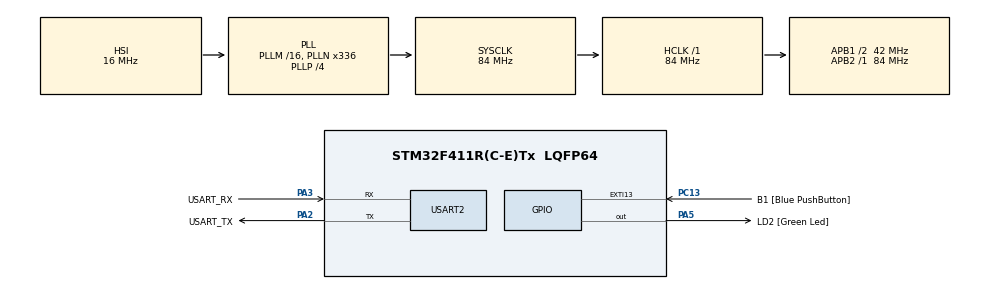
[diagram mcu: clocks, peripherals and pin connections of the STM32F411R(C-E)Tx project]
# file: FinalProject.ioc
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Mcu.Family=STM32F4
Mcu.Name=STM32F411R(C-E)Tx
Mcu.Package=LQFP64
NVIC.PriorityGroup=NVIC_PRIORITYGROUP_2
NVIC.USART2_IRQn=true\:2\:0\:true\:false\:true\:true\:true
PA13.GPIO_Label=TMS
PA13.Mode=Serial_Wire
PA13.Signal=SYS_JTMS-SWDIO
PA14.GPIO_Label=TCK
PA14.Mode=Serial_Wire
PA14.Signal=SYS_JTCK-SWCLK
PA2.GPIO_Label=USART_TX
PA2.Mode=Asynchronous
PA2.Signal=USART2_TX
PA3.GPIO_Label=USART_RX
PA3.Mode=Asynchronous
PA3.Signal=USART2_RX
PA5.GPIO_Label=LD2 [Green Led]
PA5.Signal=GPIO_Output
PB3.GPIO_Label=SWO
PB3.Signal=SYS_JTDO-SWO
PC13-ANTI_TAMP.GPIO_Label=B1 [Blue PushButton]
PC13-ANTI_TAMP.GPIO_ModeDefaultEXTI=GPIO_MODE_IT_FALLING
PC13-ANTI_TAMP.Signal=GPXTI13
PC14-OSC32_IN.Mode=LSE-External-Oscillator
PC14-OSC32_IN.Signal=RCC_OSC32_IN
PC15-OSC32_OUT.Mode=LSE-External-Oscillator
PC15-OSC32_OUT.Signal=RCC_OSC32_OUT
PH0\ -\ OSC_IN.Mode=HSE-External-Clock-Source
PH0\ -\ OSC_IN.Signal=RCC_OSC_IN
PH1\ -\ OSC_OUT.Mode=HSE-External-Clock-Source
PH1\ -\ OSC_OUT.Signal=RCC_OSC_OUT
ProjectManager.HeapSize=0x200
ProjectManager.StackSize=0x400
ProjectManager.TargetToolchain=STM32CubeIDE
RCC.48MHZClocksFreq_Value=84000000
RCC.AHBFreq_Value=84000000
RCC.APB1CLKDivider=RCC_HCLK_DIV2
RCC.APB1Freq_Value=42000000
RCC.APB1TimFreq_Value=84000000
RCC.APB2Freq_Value=84000000
RCC.APB2TimFreq_Value=84000000
RCC.CortexFreq_Value=84000000
RCC.FLatency-AdvancedSettings=FLASH_LATENCY_2
RCC.HCLKFreq_Value=84000000
RCC.HSE_VALUE=8000000
RCC.HSI_VALUE=16000000
RCC.PLLN=336
RCC.PLLP=RCC_PLLP_DIV4
RCC.SYSCLKFreq_VALUE=84000000
RCC.SYSCLKSource=RCC_SYSCLKSOURCE_PLLCLK
RCC.VCOOutputFreq_Value=336000000
TIM2.AutoReloadPreload=TIM_AUTORELOAD_PRELOAD_ENABLE
TIM2.Channel-PWM\ Generation1\ No\ Output=TIM_CHANNEL_1
TIM2.Period=50
TIM2.Prescaler=8400
USART2.VirtualMode=VM_ASYNC
VP_TIM2_VS_ClockSourceINT.Mode=Internal
VP_TIM2_VS_no_output1.Mode=PWM Generation1 No Output
board=NUCLEO-F411RE

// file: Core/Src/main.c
/* USER CODE BEGIN Header */
/**
  ******************************************************************************
  * @file           : main.c
  * @brief          : Main program body
  ******************************************************************************
  * @attention
  *
  * <h2><center>&copy; Copyright (c) 2020 STMicroelectronics.
  * All rights reserved.</center></h2>
  *
  * This software component is licensed by ST under BSD 3-Clause license,
  * the "License"; You may not use this file except in compliance with the
  * License. You may obtain a copy of the License at:
  *                        opensource.org/licenses/BSD-3-Clause
  *
  ******************************************************************************
  */
/* USER CODE END Header */

#include "main.h"

/* USER CODE BEGIN Includes */
#include <stdio.h>
#include <time.h>
#include <stdlib.h>
#include <ctype.h>
/* USER CODE END Includes */

TIM_HandleTypeDef htim2;

UART_HandleTypeDef huart2;

/* USER CODE BEGIN PV */
char alphabet[] = "abcdefghijklmnopqrstuvwxyz";
char StartString[] = "Welcome to the HangMan game!! Choose the option that you want :\r\n [1] Start \r\n [2] How to play?? \r\n Choose one (type 1 or 2): ";
char HardVocabularies[50][25] = {
		"abysmal", "antithetical", "apocryphal", "begrudge", "behoove", "belligerent", "capricious", "chivalrous", "commensurate", "conundrum",
		"denigrate", "dilapidated", "efficacious", "evenhanded", "exegesis", "forlorn", "frugal", "garrulous", "hackneyed", "idiosyncrasy",
		"imbroglio", "incorrigible", "inscrutable", "intransigent", "juggernaut", "largesse", "lascivious", "malapropism", "malfeasance", "malodorous",
		"misogynist", "obsequious", "overweening", "parsimonious", "pejorative", "piquant", "pollyannaish", "prescience", "presumptuous", "prevaricate",
		"profligate", "querulous", "restive", "saturnine", "soporific", "supercilious", "sycophant", "tantamount", "veracious", "vicissitude"
};

char MediumVocabularies[50][25] = {

		"anomaly", "arduous", "blatant", "strenuous", "bombard", "concensus", "confront", "disparate", "disperse", "dwindle",
		"emphasize", "exacerbate", "exhaustive", "foremost", "forthcoming", "grueling", "impetus", "implausible", "indignant", "inexorable",
		"infinitesimal", "innocuous", "intersperse", "intervene", "jeopardy", "juxtapose", "notwithstanding", "nuance", "overlook", "overshadow",
		"overwhelm", "predominant", "preposterous", "prevalent", "profound", "propagate", "propulsion", "rebound", "remnant", "ruthless",
		"salvage", "subsequent", "substitute", "subsume", "superfluous", "transitory", "trivial", "undermine", "upheaval", "vicarious"
};

char EasyVocularies[50][25] = {

		"absolve", "anxious", "apparent", "aspire", "bashful", "blossom", "bold", "catastrophe", "complain", "contrast",
		"crave", "criticize", "crowded", "dangerous", "deadly", "debate", "degenerate", "demote", "deport", "distinct",
		"disturb", "endless", "enormous", "escalate", "exile", "exterminate", "fearless", "forever", "fruitful", "immense",
		"intelligent", "interesting", "large", "minute", "obsessed", "pacific", "partiality", "perceive", "poisonous", "pressing",
		"pursue", "reckless", "relegate", "renowned", "request", "shade", "stalk", "tiresome", "transparent", "typical"
};

/* USER CODE END PV */

void SystemClock_Config(void);
static void MX_GPIO_Init(void);
static void MX_TIM2_Init(void);
static void MX_USART2_UART_Init(void);

/* USER CODE BEGIN 0 */
char pData[1]; //hold the user's input
char word[25]; //hold the random word.
char usedCharacter[] = "                          "; //used characters
int start = 0; //start by pushing the button
int state = 0; //state of the program
int mode = 0; //mode of the game (easy,medium,hard)
int Timeout = 1000000;
int size = 0; //size of the random word
int try = 8; //max trial
void resetValues(){
	for (int i = 0;i < 25; ++i){
		word[i] = ' ';
	}
	for (int i = 0; i < 26; ++i){
		usedCharacter[i] = ' ';
	}
	mode = 0;
	size = 0;
	try = 8;
	start = 0;
}
/* USER CODE END 0 */

int main(void)
{
  /* USER CODE BEGIN 1 */
	//HAL_UART_Transmit(&huart2, StartString, sizeof(StartString), 1000000);
  /* USER CODE END 1 */

  /* MCU Configuration--------------------------------------------------------*/

  /* Reset of all peripherals, Initializes the Flash interface and the Systick. */
  HAL_Init();

  /* Configure the system clock */
  SystemClock_Config();

  /* Initialize all configured peripherals */
  MX_GPIO_Init();
  MX_TIM2_Init();
  MX_USART2_UART_Init();
  /* USER CODE BEGIN 2 */
  //HAL_UART_Transmit(&huart2, StartString, sizeof(StartString), 1000000);
  /* USER CODE END 2 */

  /* Infinite loop */
  /* USER CODE BEGIN WHILE */

  while (1)
  {
	HAL_TIM_PWM_Start(&htim2, TIM_CHANNEL_1);
	if (!HAL_GPIO_ReadPin(GPIOC, GPIO_PIN_13)){
		while(!HAL_GPIO_ReadPin(GPIOC, GPIO_PIN_13));
		buttonPushStart();
	}
	if (state == 1){
		if (HAL_UART_Receive(&huart2, pData, 1, Timeout) == HAL_OK){
			if (pData[0] == '1'){
				startGame();
			}
			else if (pData[0] == '2'){
				howToPlay();
			}
			else{
				error1();
			}
		}
	}
	if (state == 2){
		if (HAL_UART_Receive(&huart2, pData, 1, Timeout) == HAL_OK){
			if (pData[0] == '1'){
				startEasy();
			}
			else if (pData[0] == '2'){
				startMedium();
			}
			else if (pData[0] == '3'){
				startHard();
			}
			else{
				error2();
			}
		}
	}
	if (state == 3){
		startNow();
	}
	if (state == 4){
		firstTurn();
	}
	if (state == 5){
		continueTurn();
	}
    /* USER CODE END WHILE */
	if (state == 6){
		tryAgain();
	}
  }
}

void SystemClock_Config(void)
{
  RCC_OscInitTypeDef RCC_OscInitStruct = {0};
  RCC_ClkInitTypeDef RCC_ClkInitStruct = {0};

  /** Configure the main internal regulator output voltage
  */
  __HAL_RCC_PWR_CLK_ENABLE();
  __HAL_PWR_VOLTAGESCALING_CONFIG(PWR_REGULATOR_VOLTAGE_SCALE1);
  /** Initializes the CPU, AHB and APB busses clocks
  */
  RCC_OscInitStruct.OscillatorType = RCC_OSCILLATORTYPE_HSI;
  RCC_OscInitStruct.HSIState = RCC_HSI_ON;
  RCC_OscInitStruct.HSICalibrationValue = RCC_HSICALIBRATION_DEFAULT;
  RCC_OscInitStruct.PLL.PLLState = RCC_PLL_ON;
  RCC_OscInitStruct.PLL.PLLSource = RCC_PLLSOURCE_HSI;
  RCC_OscInitStruct.PLL.PLLM = 16;
  RCC_OscInitStruct.PLL.PLLN = 336;
  RCC_OscInitStruct.PLL.PLLP = RCC_PLLP_DIV4;
  RCC_OscInitStruct.PLL.PLLQ = 4;
  if (HAL_RCC_OscConfig(&RCC_OscInitStruct) != HAL_OK)
  {
    Error_Handler();
  }
  /** Initializes the CPU, AHB and APB busses clocks
  */
  RCC_ClkInitStruct.ClockType = RCC_CLOCKTYPE_HCLK|RCC_CLOCKTYPE_SYSCLK
                              |RCC_CLOCKTYPE_PCLK1|RCC_CLOCKTYPE_PCLK2;
  RCC_ClkInitStruct.SYSCLKSource = RCC_SYSCLKSOURCE_PLLCLK;
  RCC_ClkInitStruct.AHBCLKDivider = RCC_SYSCLK_DIV1;
  RCC_ClkInitStruct.APB1CLKDivider = RCC_HCLK_DIV2;
  RCC_ClkInitStruct.APB2CLKDivider = RCC_HCLK_DIV1;

  if (HAL_RCC_ClockConfig(&RCC_ClkInitStruct, FLASH_LATENCY_2) != HAL_OK)
  {
    Error_Handler();
  }
}

static void MX_TIM2_Init(void)
{

  TIM_ClockConfigTypeDef sClockSourceConfig = {0};
  TIM_MasterConfigTypeDef sMasterConfig = {0};
  TIM_OC_InitTypeDef sConfigOC = {0};

  htim2.Instance = TIM2;
  htim2.Init.Prescaler = 8400;
  htim2.Init.CounterMode = TIM_COUNTERMODE_UP;
  htim2.Init.Period = 50;
  htim2.Init.ClockDivision = TIM_CLOCKDIVISION_DIV1;
  htim2.Init.AutoReloadPreload = TIM_AUTORELOAD_PRELOAD_ENABLE;
  if (HAL_TIM_Base_Init(&htim2) != HAL_OK)
  {
    Error_Handler();
  }
  sClockSourceConfig.ClockSource = TIM_CLOCKSOURCE_INTERNAL;
  if (HAL_TIM_ConfigClockSource(&htim2, &sClockSourceConfig) != HAL_OK)
  {
    Error_Handler();
  }
  if (HAL_TIM_PWM_Init(&htim2) != HAL_OK)
  {
    Error_Handler();
  }
  sMasterConfig.MasterOutputTrigger = TIM_TRGO_RESET;
  sMasterConfig.MasterSlaveMode = TIM_MASTERSLAVEMODE_DISABLE;
  if (HAL_TIMEx_MasterConfigSynchronization(&htim2, &sMasterConfig) != HAL_OK)
  {
    Error_Handler();
  }
  sConfigOC.OCMode = TIM_OCMODE_PWM1;
  sConfigOC.Pulse = 0;
  sConfigOC.OCPolarity = TIM_OCPOLARITY_HIGH;
  sConfigOC.OCFastMode = TIM_OCFAST_DISABLE;
  if (HAL_TIM_PWM_ConfigChannel(&htim2, &sConfigOC, TIM_CHANNEL_1) != HAL_OK)
  {
    Error_Handler();
  }

}

static void MX_USART2_UART_Init(void)
{

  huart2.Instance = USART2;
  huart2.Init.BaudRate = 115200;
  huart2.Init.WordLength = UART_WORDLENGTH_8B;
  huart2.Init.StopBits = UART_STOPBITS_1;
  huart2.Init.Parity = UART_PARITY_NONE;
  huart2.Init.Mode = UART_MODE_TX_RX;
  huart2.Init.HwFlowCtl = UART_HWCONTROL_NONE;
  huart2.Init.OverSampling = UART_OVERSAMPLING_16;
  if (HAL_UART_Init(&huart2) != HAL_OK)
  {
    Error_Handler();
  }

}

static void MX_GPIO_Init(void)
{
  GPIO_InitTypeDef GPIO_InitStruct = {0};

  /* GPIO Ports Clock Enable */
  __HAL_RCC_GPIOC_CLK_ENABLE();
  __HAL_RCC_GPIOH_CLK_ENABLE();
  __HAL_RCC_GPIOA_CLK_ENABLE();
  __HAL_RCC_GPIOB_CLK_ENABLE();

  /*Configure GPIO pin Output Level */
  HAL_GPIO_WritePin(LD2_GPIO_Port, LD2_Pin, GPIO_PIN_RESET);

  /*Configure GPIO pin : B1_Pin */
  GPIO_InitStruct.Pin = B1_Pin;
  GPIO_InitStruct.Mode = GPIO_MODE_IT_FALLING;
  GPIO_InitStruct.Pull = GPIO_NOPULL;
  HAL_GPIO_Init(B1_GPIO_Port, &GPIO_InitStruct);

  /*Configure GPIO pin : LD2_Pin */
  GPIO_InitStruct.Pin = LD2_Pin;
  GPIO_InitStruct.Mode = GPIO_MODE_OUTPUT_PP;
  GPIO_InitStruct.Pull = GPIO_NOPULL;
  GPIO_InitStruct.Speed = GPIO_SPEED_FREQ_LOW;
  HAL_GPIO_Init(LD2_GPIO_Port, &GPIO_InitStruct);

}

/* USER CODE BEGIN 4 */
void setVocabularySets(char set[50][25]){
	state = 3;
	int k = TIM2->CNT %50;
	for (int i = 0; i < 25; ++i){
		if (set[k][i] != NULL){
			size++;
		}
	}
	//size = sizeof(EasyVocularies[k]);
	for (int i = 0; i < size; ++i){
		word[i] = set[k][i];
	}
	for (int i = size; i < 25; ++i){
		word[i] = NULL;
	}
	//HAL_UART_Transmit(&huart2, word, sizeof(word), Timeout);
}

void startGame(){
	state = 2;
	char Start[] = "\r\n \r\n Now starting the game! Are you ready? How strong are your vocabularies? Choose one Level: \r\n [1] Easy \r\n [2] Medium \r\n [3] Hard \r\n (type 1 or 2 or 3): ";
	HAL_UART_Transmit(&huart2, Start, sizeof(Start), Timeout);
	//HAL_UART_Transmit(&huart2, pData, 1, 1000000);
}

void howToPlay(){
	state = 1;
	char How[] = "\r\n \r\n This is how you are going to play this game: \r\n [1] You guess a character that you think is in the word \r\n [2] You only have limited guess (8) so choose well \r\n [3] of course if you guess all correct character before the quota runs out, you win!";
	HAL_UART_Transmit(&huart2, How, sizeof(How), Timeout);
	//HAL_UART_Transmit(&huart2, pData, 1, 1000000);
	HAL_Delay(2000);
	char anoStart[] = "\r\n \r\n Already familiar with the rule? \r\n Now let's Choose the option that you want :\r\n [1] Start \r\n [2] How to play?? \r\n Choose one (type 1 or 2):";
	HAL_UART_Transmit(&huart2, anoStart , sizeof(anoStart), Timeout);
}

void error1(){
	state = 1;
	char Error[] = "\r\n \r\n Such a strange person you are, type only 1 or 2 !!!";
	HAL_UART_Transmit(&huart2, Error, sizeof(Error), Timeout);
	char TryAgain[] = "\r\n Now Try again, remember, type only 1 or 2 !!!!";
	HAL_UART_Transmit(&huart2, TryAgain, sizeof(TryAgain), Timeout);
}

void buttonPushStart(){
	if (start == 0){
		start = 1;
		state = 1;
		HAL_UART_Transmit(&huart2, StartString , sizeof(StartString), Timeout);
	}
}

void startEasy(){
	char easy[] = " \r\n \r\n Always start small right? Let's see if you can defeat the easiest level! \r\n";
	HAL_UART_Transmit(&huart2, easy , sizeof(easy), Timeout);
	HAL_Delay(1800);
	setVocabularySets(EasyVocularies);
	mode = 1;
}

void startMedium(){
	char middle[] = "\r\n \r\n Like to choose things in the middle ha? These medium-level vocabularies are not so easy as you would think! \r\n";
	HAL_UART_Transmit(&huart2, middle , sizeof(middle), Timeout);
	HAL_Delay(1800);
	setVocabularySets(MediumVocabularies);
	mode = 2;
}

void startHard(){
	char Hard[] = "\r\n \r\n Such a brave lad you are!!! This is the toughest of all the levels, don't expect it to be your level!! \r\n";
	HAL_UART_Transmit(&huart2, Hard , sizeof(Hard), Timeout);
	HAL_Delay(1800);
	setVocabularySets(HardVocabularies);
	mode = 3;
}
char myword[25];
void error2(){
	state = 2;
	char Error[] = "\r\n \r\n Such a strange person you are, type only 1, 2, or 3 !!!";
	HAL_UART_Transmit(&huart2, Error, sizeof(Error), Timeout);
	char TryAgain[] = "\r\n Now Try again, remember, type only 1, 2, or 3 !!!!";
	HAL_UART_Transmit(&huart2, TryAgain, sizeof(TryAgain), Timeout);
}
void startNow(){
	char StartNow[] = "\r\n \r\n Here are the clue and tips to your words \r\n [1] Your word has ";
	char Continue[2];
	state = 4;
	char EndNow[] = " characters... \r\n [2] try typing vowels first (a,e,i,o,u) \r\n\r\n Now let's get started, shall we? \r\n \r\n ";
	HAL_UART_Transmit(&huart2, StartNow, sizeof(StartNow), Timeout);
	sprintf(Continue,"%d", size);
	HAL_UART_Transmit(&huart2, Continue, sizeof(Continue), Timeout);
	HAL_UART_Transmit(&huart2, EndNow, sizeof(EndNow), Timeout);
	HAL_Delay(1800);
}

void firstTurn(){
	state = 5;
	char underscore[size*2];
	char stretchedword[size*2];
	for (int i = 0; i < size*2; ++i){
		if (i % 2 == 0){
			underscore[i] = '_';
			stretchedword[i] = word[i/2];
			myword[i] = ' ';
		}
		else{
			underscore[i] = ' ';
			stretchedword[i] = ' ';
			myword[i] = ' ';
		}
	}

	//HAL_UART_Transmit(&huart2, stretchedword, size*2, Timeout);
	HAL_UART_Transmit(&huart2, myword, size*2, Timeout);
	HAL_UART_Transmit(&huart2, "\r\n", 4, Timeout);
	HAL_UART_Transmit(&huart2, " ", 1, Timeout);
	HAL_UART_Transmit(&huart2, underscore, size*2, Timeout);
	char after[] = "\r\n \r\n Now choose (or guess) a character that you think is in this word... : ";
	char format[] = "(%d characters) used characters : ";
	char HereIsYourWords[sizeof(format)-1];
	sprintf(HereIsYourWords,format, size);
	HAL_UART_Transmit(&huart2, HereIsYourWords, sizeof(HereIsYourWords), Timeout);
	HAL_UART_Transmit(&huart2, usedCharacter, sizeof(usedCharacter), Timeout);
	char Try[2];
	sprintf(Try,"%d",try);
	HAL_UART_Transmit(&huart2, "\r\n\r\n", 8, Timeout);
	HAL_UART_Transmit(&huart2, " Try left: ", 11, Timeout);
	HAL_UART_Transmit(&huart2, Try, sizeof(Try), Timeout);
	HAL_Delay(500);
	HAL_UART_Transmit(&huart2, after, sizeof(after), Timeout);
}

void nextTurn(){
	char underscore[size*2];
	char stretchedword[size*2];
	for (int i = 0; i < size*2; ++i){
		if (i % 2 == 0){
			underscore[i] = '_';
			stretchedword[i] = word[i/2];
		}
		else{
			underscore[i] = ' ';
			stretchedword[i] = ' ';
		}
	}

	//HAL_UART_Transmit(&huart2, stretchedword, size*2, Timeout);
	HAL_UART_Transmit(&huart2, "\r\n\r\n", 8, Timeout);
	HAL_UART_Transmit(&huart2, " ", 1, Timeout);
	HAL_UART_Transmit(&huart2, myword, size*2, Timeout);
	HAL_UART_Transmit(&huart2, "\r\n", 4, Timeout);
	HAL_UART_Transmit(&huart2, " ", 1, Timeout);
	HAL_UART_Transmit(&huart2, underscore, size*2, Timeout);
	char after[] = "\r\n \r\n Now choose (or guess) another character that you think is in this word... : ";
	char format[] = "(%d characters) used characters : ";
	char HereIsYourWords[sizeof(format)-1];
	sprintf(HereIsYourWords,format, size);
	HAL_UART_Transmit(&huart2, HereIsYourWords, sizeof(HereIsYourWords), Timeout);
	HAL_UART_Transmit(&huart2, usedCharacter, sizeof(usedCharacter), Timeout);
	char Try[2];
	sprintf(Try,"%d",try);
	HAL_UART_Transmit(&huart2, "\r\n\r\n", 8, Timeout);
	HAL_UART_Transmit(&huart2, " Try left: ", 11, Timeout);
	HAL_UART_Transmit(&huart2, Try, sizeof(Try), Timeout);
	HAL_Delay(500);
	HAL_UART_Transmit(&huart2, after, sizeof(after), Timeout);
}

void continueTurn(){
	if (HAL_UART_Receive(&huart2, pData, 1, Timeout) == HAL_OK){
		int check = 0;
		int inword = 0;
		int win = 1;
		char stretchedword[size*2];
		for (int i = 0; i < size*2; ++i){
			if (i % 2 == 0){
				stretchedword[i] = word[i/2];
			}
			else{
				stretchedword[i] = ' ';
			}
		}
		if (!isdigit(pData[0])){
			for (int i = 0; i < sizeof(alphabet); ++i){
				if (pData[0] == alphabet[i]){
					if (usedCharacter[i] == pData[0]){
						check = 2;
					}
					else{
						usedCharacter[i] = pData[0];
						check = 1;
					}
				}
			}
			if (check == 1) {
				for (int i = 0; i < size; ++i){
					if (pData[0] == word[i]){
						myword[2*i] = pData[0];
						inword = 1;
					}
				}
			}
			for (int i = 0; i < size; ++i){
				if (myword[i*2] == ' '){
					win = 0;
				}
			}
			if (win) {
				char win[] = "\r\n \r\n Congratulations you get the whole word right!! ";
				HAL_UART_Transmit(&huart2, win, sizeof(win), Timeout);
				HAL_Delay(1000);
				state = 6;
			}
			else if (check == 2){
				char Same[] = "\r\n \r\n You had already entered this character before!! \r\n Well, we are generous, we won't deduct your try... ";
				HAL_UART_Transmit(&huart2, Same, sizeof(Same), Timeout);
				HAL_Delay(1800);
			}
			else if (inword){
				char right[] = "\r\n \r\n Congrats! You guessed the right character!! Your try won't be deduced";
				HAL_UART_Transmit(&huart2, right, sizeof(right), Timeout);
				HAL_Delay(1800);
			}
			else if (!inword){
				if (check != 0)
					try--;
				if (try == 0){
					char Try[2];
					sprintf(Try,"%d",try);
					HAL_UART_Transmit(&huart2, "\r\n\r\n", 8, Timeout);
					HAL_UART_Transmit(&huart2, " Try left: ", 11, Timeout);
					HAL_UART_Transmit(&huart2, Try, sizeof(Try), Timeout);
					HAL_Delay(1000);
					char lose[] = "\r\n \r\n Sorry, you lose.... \r\n bad luck this time, hope next time you can do better..";
					HAL_UART_Transmit(&huart2, lose, sizeof(lose), Timeout);
					HAL_Delay(1000);
					char reveal[] = "\r\n And the word is.....\r\n \r\n ";
					HAL_UART_Transmit(&huart2, reveal, sizeof(reveal), Timeout);
					HAL_Delay(500);
					HAL_UART_Transmit(&huart2, stretchedword, sizeof(stretchedword), Timeout);
					HAL_Delay(1000);
					state = 6;
					return;
				}
				else{
					if (check != 0)
					{
						char wrong[] = "\r\n \r\n Sorry you guessed wrong, \r\n but don't worry, you can try again whenever your try is still avaiable. ";
						HAL_UART_Transmit(&huart2, wrong, sizeof(wrong), Timeout);
						HAL_Delay(1800);
					}
				}

			}
			if (!win && try != 0 && check != 0){
				nextTurn();
			}
			else{
				if (check != 0){
					char underscore[size*2];
					char stretchedword[size*2];
					for (int i = 0; i < size*2; ++i){
						if (i % 2 == 0){
							underscore[i] = '_';
							stretchedword[i] = word[i/2];
						}
						else{
							underscore[i] = ' ';
							stretchedword[i] = ' ';
						}
					}

					//HAL_UART_Transmit(&huart2, stretchedword, size*2, Timeout);
					HAL_UART_Transmit(&huart2, "\r\n\r\n", 8, Timeout);
					HAL_UART_Transmit(&huart2, " ", 1, Timeout);
					HAL_UART_Transmit(&huart2, myword, size*2, Timeout);
					HAL_UART_Transmit(&huart2, "\r\n", 4, Timeout);
				}
			}
			if (check == 0){
				char Error[] = "\r\n\r\n The word does not have this character for sure!!! \r\n Have you read the how to play guide? \r\n The word does not contain the strange symbol that you type!! \r\n The word contains only a-z";
				char TryAgain[] = "\r\n Now Try Again!!!";
				HAL_UART_Transmit(&huart2, Error, sizeof(Error), Timeout);
				HAL_Delay(1000);
				HAL_UART_Transmit(&huart2, TryAgain, sizeof(TryAgain), Timeout);
				HAL_Delay(1000);
				nextTurn();
			}
		}
		else{
			char Error[] = "\r\n\r\n The word does not have this character for sure!!! \r\n Have you read the how to play guide? \r\n The word does not contain numbers!! \r\n The word contains only a-z";
			char TryAgain[] = "\r\n Now Try Again!!!";
			HAL_UART_Transmit(&huart2, Error, sizeof(Error), Timeout);
			HAL_Delay(1000);
			HAL_UART_Transmit(&huart2, TryAgain, sizeof(TryAgain), Timeout);
			HAL_Delay(1000);
			nextTurn();
		}

	}
}

void tryAgain(){
	char question[] = "\r\n \r\n Do you want to play again? \r\n Type y if yes \r\n Type n if no \r\n : ";
	HAL_UART_Transmit(&huart2, question, sizeof(question), Timeout);
	if (HAL_UART_Receive(&huart2, pData, 1, Timeout) == HAL_OK){
		if (pData[0] == 'y'){
			resetValues();
			startGame();
		}
		else if (pData[0] == 'n'){
			HAL_UART_Transmit(&huart2, "\r\n\r\n ", 9, Timeout);
			resetValues();
			buttonPushStart();
		}
		else{
			char Error[] = "\r\n How strange a man are you!! Type only y and n [y for yes and n for no] \r\n Now try again... ";
			HAL_UART_Transmit(&huart2, Error, sizeof(Error), Timeout);
			HAL_Delay(1000);
		}
	}
}
/* USER CODE END 4 */

void Error_Handler(void)
{
}

/************************ (C) COPYRIGHT STMicroelectronics *****END OF FILE****/
